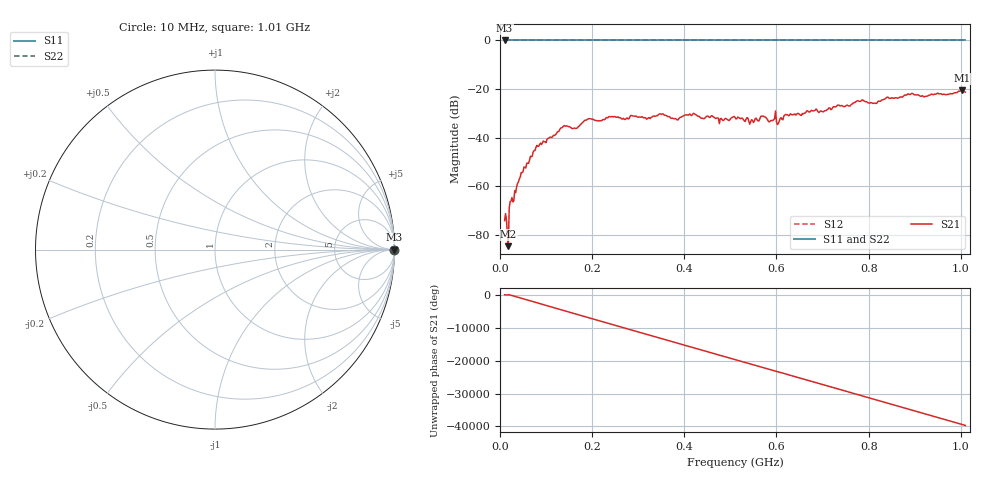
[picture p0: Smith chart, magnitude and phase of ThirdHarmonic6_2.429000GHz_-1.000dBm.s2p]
! 8/17/2025 4:11:51 AM
! C:\ANRITSUVNA\TEMP\TEMP.S2P
! CHANNEL.1
! TR.MEASUREMENT
! RAW.DATA
! RF.CORRECTION.OFF
! AVERAGING.OFF
! IF.BANDWIDTH: 5KHZ
! SWEEPTYPE:  FREQ.SWEEP(Linear)
! Reference Plane Port Info
! PORT:  PORT1  PORT2
! DISTANCE:  0  m  0  m
! TIME:  0  s  0  s
! PHASE.OFFSET:  0  deg.  0  deg.
! LOSS:  0  dB  0  dB
! REF.LOSS:  0  dB  0  dB
! REF.FREQ:  0  Hz  0  Hz
! Power Info
! POWER:  -20  dBm  -20  dBm
! EFF.POWER:  -20  dBm  -20  dBm
! SOURCE.ATTEN:  0  dB  0  dB
! TEST.ATTEN:  0  dB  0  dB
# GHZ S RI R 50.0
! FREQ.GHZ  S11RE  S11IM  S21RE  S21IM  S12RE  S12IM  S22RE  S22IM
!; PortSelection: Port_12
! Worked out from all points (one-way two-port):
!   501 points, 10 MHz to 1.01 GHz, reference 50 ohm
!   highest |S21| = -20.57 dB at 1.002 GHz (marker M1); lowest = -84.6 dB at 18 MHz (marker M2)
!   lowest |S11| = 0.0 dB at 10 MHz (marker M3)
!   |S11| at or under -10 dB: nowhere
!   |S22| runs from 0.0 to 0.0 dB; largest |S21 - S12| = 1.1
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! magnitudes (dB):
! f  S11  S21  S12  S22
! 10 MHz  0.0  -74.1  0.0  0.0
! 14 MHz  0.0  -73.7  0.0  0.0
! 18 MHz  0.0  -84.6  0.0  0.0
! 24 MHz  0.0  -66.0  0.0  0.0
! 42 MHz  0.0  -56.9  0.0  0.0
! 76 MHz  0.0  -45.3  0.0  0.0
! 136 MHz  0.0  -35.7  0.0  0.0
! 164 MHz  0.0  -36.2  0.0  0.0
! 178 MHz  0.0  -34.0  0.0  0.0
! 344 MHz  0.0  -30.5  0.0  0.0
! 382 MHz  0.0  -32.2  0.0  0.0
! 422 MHz  0.0  -30.2  0.0  0.0
! 480 MHz  0.0  -32.0  0.0  0.0
! 510 MHz  0.0  -31.6  0.0  0.0
! 546 MHz  0.0  -32.6  0.0  0.0
! 570 MHz  0.0  -31.1  0.0  0.0
! 604 MHz  0.0  -34.2  0.0  0.0
! 620 MHz  0.0  -30.4  0.0  0.0
! 678 MHz  0.0  -28.9  0.0  0.0
! 844 MHz  0.0  -23.7  0.0  0.0
! 1.002 GHz  0.0  -20.6  0.0  0.0
! 1.01 GHz  0.0  -21.3  0.0  0.0
